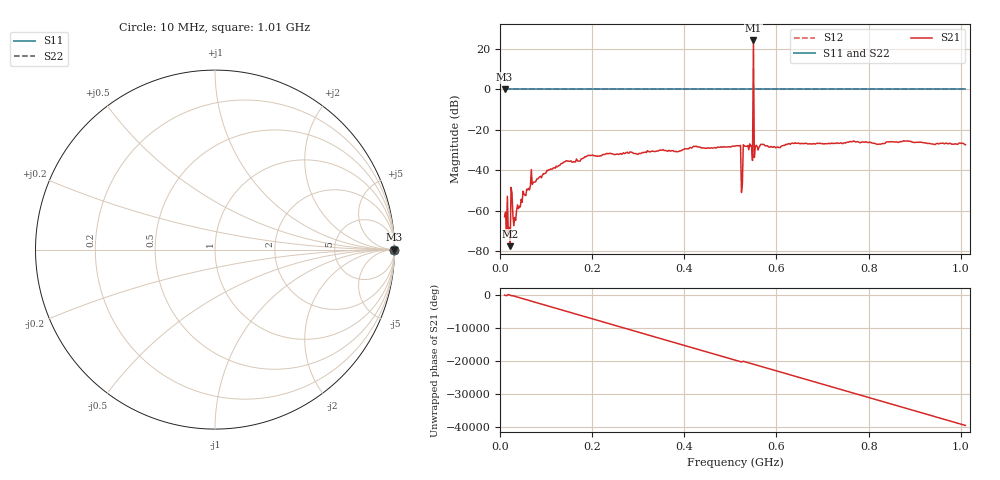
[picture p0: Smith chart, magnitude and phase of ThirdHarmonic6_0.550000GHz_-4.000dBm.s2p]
! 8/15/2025 5:23:29 PM
! C:\ANRITSUVNA\TEMP\TEMP.S2P
! CHANNEL.1
! TR.MEASUREMENT
! RAW.DATA
! RF.CORRECTION.OFF
! AVERAGING.OFF
! IF.BANDWIDTH: 5KHZ
! SWEEPTYPE:  FREQ.SWEEP(Linear)
! Reference Plane Port Info
! PORT:  PORT1  PORT2
! DISTANCE:  0  m  0  m
! TIME:  0  s  0  s
! PHASE.OFFSET:  0  deg.  0  deg.
! LOSS:  0  dB  0  dB
! REF.LOSS:  0  dB  0  dB
! REF.FREQ:  0  Hz  0  Hz
! Power Info
! POWER:  -20  dBm  -20  dBm
! EFF.POWER:  -20  dBm  -20  dBm
! SOURCE.ATTEN:  0  dB  0  dB
! TEST.ATTEN:  0  dB  0  dB
# GHZ S RI R 50.0
! FREQ.GHZ  S11RE  S11IM  S21RE  S21IM  S12RE  S12IM  S22RE  S22IM
!; PortSelection: Port_12
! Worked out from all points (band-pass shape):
!   501 points, 10 MHz to 1.01 GHz, reference 50 ohm
!   highest |S21| = 24.14 dB at 550 MHz (marker M1); lowest = -77.4 dB at 22 MHz (marker M2)
!   |S21| within 3 dB of the highest: 549.8988 MHz to 550.1038 MHz (205 kHz wide, 0.0373 % of centre)
!   lowest |S11| = 0.0 dB at 10 MHz (marker M3)
!   |S11| at or under -10 dB: nowhere
!   |S22| runs from 0.0 to 0.0 dB; largest |S21 - S12| = 15
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0.01  1 0  0.00069 -0.000177  1 0  1 0
0.012  1 0  -0.000732 -0.000566  1 0  1 0
0.018  1 0  -0.000247 9.96e-05  1 0  1 0
0.022  1 0  7.43e-05 -0.000112  1 0  1 0
0.028  1 0  -0.000709 0.000347  1 0  1 0
0.032  1 0  0.000633 0.000253  1 0  1 0
0.07  1 0  -0.00166 -0.00418  1 0  1 0
0.178  1 0  -0.0191 -0.00338  1 0  1 0
0.344  1 0  0.029 -0.00882  1 0  1 0
0.51  1 0  -0.0347 0.0191  1 0  1 0
0.518  1 0  -0.0398 -0.00582  1 0  1 0
0.522  1 0  0.0363 0.0195  1 0  1 0
0.528  1 0  -0.0348 0.025  1 0  1 0
0.532  1 0  0.0379 -0.0103  1 0  1 0
0.544  1 0  -0.0273 -0.0289  1 0  1 0
0.546  1 0  -0.0337 0.0236  1 0  1 0
0.55  1 0  11.21 -11.57  1 0  1 0
0.554  1 0  -0.0379 -0.00442  1 0  1 0
0.556  1 0  -0.00938 0.0405  1 0  1 0
0.678  1 0  -0.0256 -0.037  1 0  1 0
0.844  1 0  0.0414 0.0289  1 0  1 0
1.01  1 0  -0.0424 -0.00506  1 0  1 0
